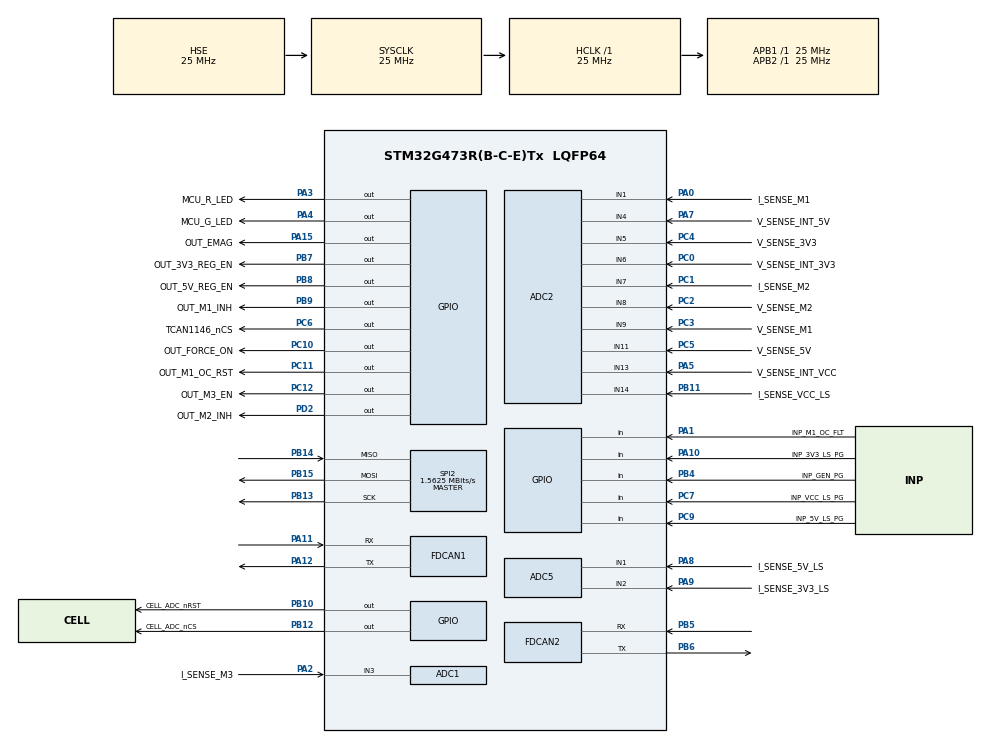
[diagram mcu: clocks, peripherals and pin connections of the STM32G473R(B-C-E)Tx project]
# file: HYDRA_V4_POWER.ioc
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ADC1.Channel-0\#ChannelRegularConversion=ADC_CHANNEL_3
ADC1.Channel-1\#ChannelRegularConversion=ADC_CHANNEL_TEMPSENSOR_ADC1
ADC1.ClockPrescaler=ADC_CLOCK_ASYNC_DIV1
ADC1.ContinuousConvMode=DISABLE
ADC1.DMAContinuousRequests=DISABLE
ADC1.DataAlign=ADC_DATAALIGN_RIGHT
ADC1.DiscontinuousConvMode=DISABLE
ADC1.EOCSelection=ADC_EOC_SEQ_CONV
ADC1.ExternalTrigConv=ADC_EXTERNALTRIG_T3_TRGO
ADC1.Mode=ADC_MODE_INDEPENDENT
ADC1.NbrOfConversion=2
ADC1.NbrOfConversionFlag=1
ADC1.OffsetNumber-0\#ChannelRegularConversion=ADC_OFFSET_NONE
ADC1.OffsetNumber-1\#ChannelRegularConversion=ADC_OFFSET_NONE
ADC1.Overrun=ADC_OVR_DATA_PRESERVED
ADC1.Rank-0\#ChannelRegularConversion=1
ADC1.Rank-1\#ChannelRegularConversion=2
ADC1.SamplingTime-0\#ChannelRegularConversion=ADC_SAMPLETIME_2CYCLES_5
ADC1.SamplingTime-1\#ChannelRegularConversion=ADC_SAMPLETIME_2CYCLES_5
ADC1.master=1
ADC2.Channel-0\#ChannelRegularConversion=ADC_CHANNEL_1
ADC2.Channel-1\#ChannelRegularConversion=ADC_CHANNEL_4
ADC2.Channel-2\#ChannelRegularConversion=ADC_CHANNEL_5
ADC2.Channel-3\#ChannelRegularConversion=ADC_CHANNEL_6
ADC2.Channel-4\#ChannelRegularConversion=ADC_CHANNEL_7
ADC2.Channel-5\#ChannelRegularConversion=ADC_CHANNEL_8
ADC2.Channel-6\#ChannelRegularConversion=ADC_CHANNEL_9
ADC2.Channel-7\#ChannelRegularConversion=ADC_CHANNEL_11
ADC2.Channel-8\#ChannelRegularConversion=ADC_CHANNEL_13
ADC2.Channel-9\#ChannelRegularConversion=ADC_CHANNEL_14
ADC2.ClockPrescaler=ADC_CLOCK_ASYNC_DIV1
ADC2.ContinuousConvMode=DISABLE
ADC2.DMAContinuousRequests=DISABLE
ADC2.EOCSelection=ADC_EOC_SEQ_CONV
ADC2.ExternalTrigConv=ADC_EXTERNALTRIG_T3_TRGO
ADC2.NbrOfConversion=10
ADC2.NbrOfConversionFlag=1
ADC2.OffsetNumber-0\#ChannelRegularConversion=ADC_OFFSET_NONE
ADC2.OffsetNumber-1\#ChannelRegularConversion=ADC_OFFSET_NONE
ADC2.OffsetNumber-2\#ChannelRegularConversion=ADC_OFFSET_NONE
ADC2.OffsetNumber-3\#ChannelRegularConversion=ADC_OFFSET_NONE
ADC2.OffsetNumber-4\#ChannelRegularConversion=ADC_OFFSET_NONE
ADC2.OffsetNumber-5\#ChannelRegularConversion=ADC_OFFSET_NONE
ADC2.OffsetNumber-6\#ChannelRegularConversion=ADC_OFFSET_NONE
ADC2.OffsetNumber-7\#ChannelRegularConversion=ADC_OFFSET_NONE
ADC2.OffsetNumber-8\#ChannelRegularConversion=ADC_OFFSET_NONE
ADC2.OffsetNumber-9\#ChannelRegularConversion=ADC_OFFSET_NONE
ADC2.Overrun=ADC_OVR_DATA_PRESERVED
ADC2.Rank-0\#ChannelRegularConversion=1
ADC2.Rank-1\#ChannelRegularConversion=2
ADC2.Rank-2\#ChannelRegularConversion=3
ADC2.Rank-3\#ChannelRegularConversion=4
ADC2.Rank-4\#ChannelRegularConversion=5
ADC2.Rank-5\#ChannelRegularConversion=6
ADC2.Rank-6\#ChannelRegularConversion=7
ADC2.Rank-7\#ChannelRegularConversion=8
ADC2.Rank-8\#ChannelRegularConversion=9
ADC2.Rank-9\#ChannelRegularConversion=10
ADC2.SamplingTime-0\#ChannelRegularConversion=ADC_SAMPLETIME_2CYCLES_5
ADC2.SamplingTime-1\#ChannelRegularConversion=ADC_SAMPLETIME_2CYCLES_5
ADC2.SamplingTime-2\#ChannelRegularConversion=ADC_SAMPLETIME_2CYCLES_5
ADC2.SamplingTime-3\#ChannelRegularConversion=ADC_SAMPLETIME_2CYCLES_5
ADC2.SamplingTime-4\#ChannelRegularConversion=ADC_SAMPLETIME_2CYCLES_5
ADC2.SamplingTime-5\#ChannelRegularConversion=ADC_SAMPLETIME_2CYCLES_5
ADC2.SamplingTime-6\#ChannelRegularConversion=ADC_SAMPLETIME_2CYCLES_5
ADC2.SamplingTime-7\#ChannelRegularConversion=ADC_SAMPLETIME_2CYCLES_5
ADC2.SamplingTime-8\#ChannelRegularConversion=ADC_SAMPLETIME_2CYCLES_5
ADC2.SamplingTime-9\#ChannelRegularConversion=ADC_SAMPLETIME_2CYCLES_5
ADC5.Channel-0\#ChannelRegularConversion=ADC_CHANNEL_1
ADC5.Channel-1\#ChannelRegularConversion=ADC_CHANNEL_2
ADC5.ClockPrescaler=ADC_CLOCK_ASYNC_DIV1
ADC5.ContinuousConvMode=DISABLE
ADC5.DMAContinuousRequests=DISABLE
ADC5.EOCSelection=ADC_EOC_SEQ_CONV
ADC5.ExternalTrigConv=ADC_EXTERNALTRIG_T3_TRGO
ADC5.NbrOfConversion=2
ADC5.NbrOfConversionFlag=1
ADC5.OffsetNumber-0\#ChannelRegularConversion=ADC_OFFSET_NONE
ADC5.OffsetNumber-1\#ChannelRegularConversion=ADC_OFFSET_NONE
ADC5.Overrun=ADC_OVR_DATA_PRESERVED
ADC5.Rank-0\#ChannelRegularConversion=1
ADC5.Rank-1\#ChannelRegularConversion=2
ADC5.SamplingTime-0\#ChannelRegularConversion=ADC_SAMPLETIME_2CYCLES_5
ADC5.SamplingTime-1\#ChannelRegularConversion=ADC_SAMPLETIME_2CYCLES_5
Dma.ADC1.2.Direction=DMA_PERIPH_TO_MEMORY
Dma.ADC1.2.EventEnable=DISABLE
Dma.ADC1.2.Instance=DMA1_Channel1
Dma.ADC1.2.MemDataAlignment=DMA_MDATAALIGN_HALFWORD
Dma.ADC1.2.MemInc=DMA_MINC_ENABLE
Dma.ADC1.2.Mode=DMA_NORMAL
Dma.ADC1.2.PeriphDataAlignment=DMA_PDATAALIGN_HALFWORD
Dma.ADC1.2.PeriphInc=DMA_PINC_DISABLE
Dma.ADC1.2.Polarity=HAL_DMAMUX_REQ_GEN_RISING
Dma.ADC1.2.Priority=DMA_PRIORITY_LOW
Dma.ADC1.2.RequestNumber=1
Dma.ADC1.2.SignalID=NONE
Dma.ADC1.2.SyncEnable=DISABLE
Dma.ADC1.2.SyncPolarity=HAL_DMAMUX_SYNC_NO_EVENT
Dma.ADC1.2.SyncRequestNumber=1
Dma.ADC1.2.SyncSignalID=NONE
Dma.ADC2.0.Direction=DMA_PERIPH_TO_MEMORY
Dma.ADC2.0.EventEnable=DISABLE
Dma.ADC2.0.Instance=DMA1_Channel2
Dma.ADC2.0.MemDataAlignment=DMA_MDATAALIGN_HALFWORD
Dma.ADC2.0.MemInc=DMA_MINC_ENABLE
Dma.ADC2.0.Mode=DMA_NORMAL
Dma.ADC2.0.PeriphDataAlignment=DMA_PDATAALIGN_HALFWORD
Dma.ADC2.0.PeriphInc=DMA_PINC_DISABLE
Dma.ADC2.0.Polarity=HAL_DMAMUX_REQ_GEN_RISING
Dma.ADC2.0.Priority=DMA_PRIORITY_LOW
Dma.ADC2.0.RequestNumber=1
Dma.ADC2.0.SignalID=NONE
Dma.ADC2.0.SyncEnable=DISABLE
Dma.ADC2.0.SyncPolarity=HAL_DMAMUX_SYNC_NO_EVENT
Dma.ADC2.0.SyncRequestNumber=1
Dma.ADC2.0.SyncSignalID=NONE
Dma.ADC5.1.Direction=DMA_PERIPH_TO_MEMORY
Dma.ADC5.1.EventEnable=DISABLE
Dma.ADC5.1.Instance=DMA1_Channel3
Dma.ADC5.1.MemDataAlignment=DMA_MDATAALIGN_HALFWORD
Dma.ADC5.1.MemInc=DMA_MINC_ENABLE
Dma.ADC5.1.Mode=DMA_NORMAL
Dma.ADC5.1.PeriphDataAlignment=DMA_PDATAALIGN_HALFWORD
Dma.ADC5.1.PeriphInc=DMA_PINC_DISABLE
Dma.ADC5.1.Polarity=HAL_DMAMUX_REQ_GEN_RISING
Dma.ADC5.1.Priority=DMA_PRIORITY_LOW
Dma.ADC5.1.RequestNumber=1
Dma.ADC5.1.SignalID=NONE
Dma.ADC5.1.SyncEnable=DISABLE
Dma.ADC5.1.SyncPolarity=HAL_DMAMUX_SYNC_NO_EVENT
Dma.ADC5.1.SyncRequestNumber=1
Dma.ADC5.1.SyncSignalID=NONE
Dma.Request0=ADC2
Dma.Request1=ADC5
Dma.Request2=ADC1
FDCAN1.CalculateBaudRateNominal=520833
FDCAN1.CalculateTimeBitNominal=1920
FDCAN1.CalculateTimeQuantumNominal=640.0
FDCAN2.CalculateBaudRateNominal=520833
FDCAN2.CalculateTimeBitNominal=1920
FDCAN2.CalculateTimeQuantumNominal=640.0
FREERTOS.Tasks01=defaultTask,8,128,StartDefaultTask,Default,NULL,Dynamic,NULL,NULL
FREERTOS.configUSE_NEWLIB_REENTRANT=1
IWDG.Prescaler=IWDG_PRESCALER_256
Mcu.Family=STM32G4
Mcu.Name=STM32G473R(B-C-E)Tx
Mcu.Package=LQFP64
NVIC.ADC1_2_IRQn=true\:5\:0\:false\:false\:true\:true\:true\:true\:true
NVIC.ADC5_IRQn=true\:5\:0\:false\:false\:true\:true\:true\:true\:true
NVIC.DMA1_Channel1_IRQn=true\:5\:0\:false\:false\:true\:true\:false\:true\:true
NVIC.DMA1_Channel2_IRQn=true\:5\:0\:false\:false\:true\:false\:false\:true\:true
NVIC.DMA1_Channel3_IRQn=true\:5\:0\:false\:false\:true\:false\:false\:true\:true
NVIC.PriorityGroup=NVIC_PRIORITYGROUP_4
NVIC.TIM1_UP_TIM16_IRQn=true\:15\:0\:false\:false\:true\:false\:false\:true\:true
NVIC.TIM3_IRQn=true\:5\:0\:false\:false\:true\:true\:true\:true\:true
NVIC.TimeBase=TIM1_UP_TIM16_IRQn
NVIC.TimeBaseIP=TIM1
PA0.GPIO_Label=I_SENSE_M1
PA0.Mode=IN1-Single-Ended
PA0.Signal=ADC2_IN1
PA1.GPIO_Label=INP_M1_OC_FLT
PA1.Signal=GPIO_Input
PA10.GPIO_Label=INP_3V3_LS_PG
PA10.Signal=GPIO_Input
PA11.Mode=FDCAN_Activate
PA11.Signal=FDCAN1_RX
PA12.Mode=FDCAN_Activate
PA12.Signal=FDCAN1_TX
PA13.Mode=Trace_Asynchronous_SW
PA13.Signal=SYS_JTMS-SWDIO
PA14.Mode=Trace_Asynchronous_SW
PA14.Signal=SYS_JTCK-SWCLK
PA15.GPIO_Label=OUT_EMAG
PA15.Signal=GPIO_Output
PA2.GPIO_Label=I_SENSE_M3
PA2.Mode=IN3-Single-Ended
PA2.Signal=ADC1_IN3
PA3.GPIO_Label=MCU_R_LED
PA3.GPIO_ModeDefaultOutputPP=GPIO_MODE_OUTPUT_OD
PA3.GPIO_PuPd=GPIO_NOPULL
PA3.Signal=GPIO_Output
PA4.GPIO_Label=MCU_G_LED
PA4.GPIO_ModeDefaultOutputPP=GPIO_MODE_OUTPUT_OD
PA4.GPIO_PuPd=GPIO_NOPULL
PA4.Signal=GPIO_Output
PA5.GPIO_Label=V_SENSE_INT_VCC
PA5.Mode=IN13-Single-Ended
PA5.Signal=ADC2_IN13
PA7.GPIO_Label=V_SENSE_INT_5V
PA7.Mode=IN4-Single-Ended
PA7.Signal=ADC2_IN4
PA8.GPIO_Label=I_SENSE_5V_LS
PA8.Mode=IN1-Single-Ended
PA8.Signal=ADC5_IN1
PA9.GPIO_Label=I_SENSE_3V3_LS
PA9.Mode=IN2-Single-Ended
PA9.Signal=ADC5_IN2
PB10.GPIO_Label=CELL_ADC_nRST
PB10.Signal=GPIO_Output
PB11.GPIO_Label=I_SENSE_VCC_LS
PB11.Mode=IN14-Single-Ended
PB11.Signal=ADC2_IN14
PB12.GPIO_Label=CELL_ADC_nCS
PB12.Signal=GPIO_Output
PB13.Mode=Full_Duplex_Master
PB13.Signal=SPI2_SCK
PB14.Mode=Full_Duplex_Master
PB14.Signal=SPI2_MISO
PB15.Mode=Full_Duplex_Master
PB15.Signal=SPI2_MOSI
PB3.Mode=Trace_Asynchronous_SW
PB3.Signal=SYS_JTDO-SWO
PB4.GPIO_Label=INP_GEN_PG
PB4.Signal=GPIO_Input
PB5.Mode=FDCAN_Activate
PB5.Signal=FDCAN2_RX
PB6.Mode=FDCAN_Activate
PB6.Signal=FDCAN2_TX
PB7.GPIO_Label=OUT_3V3_REG_EN
PB7.Signal=GPIO_Output
PB8-BOOT0.GPIO_Label=OUT_5V_REG_EN
PB8-BOOT0.Signal=GPIO_Output
PB9.GPIO_Label=OUT_M1_INH
PB9.Signal=GPIO_Output
PC0.GPIO_Label=V_SENSE_INT_3V3
PC0.Mode=IN6-Single-Ended
PC0.Signal=ADC2_IN6
PC1.GPIO_Label=I_SENSE_M2
PC1.Mode=IN7-Single-Ended
PC1.Signal=ADC2_IN7
PC10.GPIO_Label=OUT_FORCE_ON
PC10.Signal=GPIO_Output
PC11.GPIO_Label=OUT_M1_OC_RST
PC11.Signal=GPIO_Output
PC12.GPIO_Label=OUT_M3_EN
PC12.Signal=GPIO_Output
PC14-OSC32_IN.Mode=LSE-External-Oscillator
PC14-OSC32_IN.Signal=RCC_OSC32_IN
PC15-OSC32_OUT.Mode=LSE-External-Oscillator
PC15-OSC32_OUT.Signal=RCC_OSC32_OUT
PC2.GPIO_Label=V_SENSE_M2
PC2.Mode=IN8-Single-Ended
PC2.Signal=ADC2_IN8
PC3.GPIO_Label=V_SENSE_M1
PC3.Mode=IN9-Single-Ended
PC3.Signal=ADC2_IN9
PC4.GPIO_Label=V_SENSE_3V3
PC4.Mode=IN5-Single-Ended
PC4.Signal=ADC2_IN5
PC5.GPIO_Label=V_SENSE_5V
PC5.Mode=IN11-Single-Ended
PC5.Signal=ADC2_IN11
PC6.GPIO_Label=TCAN1146_nCS
PC6.Signal=GPIO_Output
PC7.GPIO_Label=INP_VCC_LS_PG
PC7.Signal=GPIO_Input
PC9.GPIO_Label=INP_5V_LS_PG
PC9.Signal=GPIO_Input
PD2.GPIO_Label=OUT_M2_INH
PD2.Signal=GPIO_Output
PF0-OSC_IN.Mode=HSE-External-Oscillator
PF0-OSC_IN.Signal=RCC_OSC_IN
PF1-OSC_OUT.Mode=HSE-External-Oscillator
PF1-OSC_OUT.Signal=RCC_OSC_OUT
ProjectManager.HeapSize=0x200
ProjectManager.StackSize=0x8000
ProjectManager.TargetToolchain=STM32CubeIDE
RCC.ADC12Freq_Value=25000000
RCC.ADC345Freq_Value=25000000
RCC.AHBFreq_Value=25000000
RCC.APB1Freq_Value=25000000
RCC.APB1TimFreq_Value=25000000
RCC.APB2Freq_Value=25000000
RCC.APB2TimFreq_Value=25000000
RCC.CortexFreq_Value=25000000
RCC.EXTERNAL_CLOCK_VALUE=12288000
RCC.HCLKFreq_Value=25000000
RCC.HSE_VALUE=25000000
RCC.HSI48_VALUE=48000000
RCC.HSI_VALUE=16000000
RCC.PLLSourceVirtual=RCC_PLLSOURCE_HSE
RCC.SYSCLKFreq_VALUE=25000000
RCC.SYSCLKSource=RCC_SYSCLKSOURCE_HSE
RCC.USBFreq_Value=100000000
RCC.VCOOutputFreq_Value=200000000
SPI2.BaudRatePrescaler=SPI_BAUDRATEPRESCALER_16
SPI2.CalculateBaudRate=1.5625 MBits/s
SPI2.DataSize=SPI_DATASIZE_8BIT
SPI2.Direction=SPI_DIRECTION_2LINES
SPI2.FirstBit=SPI_FIRSTBIT_MSB
SPI2.Mode=SPI_MODE_MASTER
SPI2.NSSPMode=SPI_NSS_PULSE_DISABLE
SPI2.VirtualType=VM_MASTER
TIM3.AutoReloadPreload=TIM_AUTORELOAD_PRELOAD_ENABLE
TIM3.PeriodNoDither=49999
TIM3.Prescaler=49
TIM3.TIM_MasterOutputTrigger=TIM_TRGO_UPDATE
VP_ADC1_TempSens_Input.Mode=IN-TempSens
VP_FREERTOS_VS_CMSIS_V2.Mode=CMSIS_V2
VP_IWDG_VS_IWDG.Mode=IWDG_Activate
VP_SYS_VS_DBSignals.Mode=DisableDeadBatterySignals
VP_SYS_VS_tim1.Mode=TIM1
VP_TIM3_VS_ClockSourceINT.Mode=Internal
board=custom

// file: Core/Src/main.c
/* USER CODE BEGIN Header */
/**
  ******************************************************************************
  * @file           : main.c
  * @brief          : Main program body
  ******************************************************************************
  * @attention
  *
  * Copyright (c) 2025 STMicroelectronics.
  * All rights reserved.
  *
  * This software is licensed under terms that can be found in the LICENSE file
  * in the root directory of this software component.
  * If no LICENSE file comes with this software, it is provided AS-IS.
  *
  ******************************************************************************
  */

/*
 * Board: HYDRA_V4_POWER
 *
 * Tasks:
 * 1. Poll all ADC channels and populate local board_state struct
 * 2. Broadcast regular heartbeat signals as per hydra standard messages
 * 3. Broadcast board-specific telemetry (use local dynamic flags to enable/disable specific message types based on what link board wants)
 */

/* USER CODE END Header */
#include "main.h"
#include "cmsis_os.h"

/* USER CODE BEGIN Includes */
#include <stdio.h>
#include "power_command_manager.h"
#include "power_state_manager.h"
#include "power_telemetry_manager.h"

#include "../Common/Inc/hydra_comm.h"
/* USER CODE END Includes */

ADC_HandleTypeDef hadc1;
ADC_HandleTypeDef hadc2;
ADC_HandleTypeDef hadc5;
DMA_HandleTypeDef hdma_adc1;
DMA_HandleTypeDef hdma_adc2;
DMA_HandleTypeDef hdma_adc5;

FDCAN_HandleTypeDef hfdcan1;
FDCAN_HandleTypeDef hfdcan2;

IWDG_HandleTypeDef hiwdg;

SPI_HandleTypeDef hspi2;

TIM_HandleTypeDef htim3;

/* Definitions for defaultTask */
osThreadId_t defaultTaskHandle;
const osThreadAttr_t defaultTask_attributes = {
  .name = "defaultTask",
  .priority = (osPriority_t) osPriorityLow,
  .stack_size = 128 * 4
};
/* USER CODE BEGIN PV */
volatile uint16_t adc1_buf[2] __attribute__((aligned(4))) = {0};
volatile uint16_t adc2_buf[10] __attribute__((aligned(4))) = {0};
volatile uint16_t adc5_buf[2] __attribute__((aligned(4))) = {0};
/* USER CODE END PV */

void SystemClock_Config(void);
static void MX_GPIO_Init(void);
static void MX_DMA_Init(void);
static void MX_ADC1_Init(void);
static void MX_ADC2_Init(void);
static void MX_ADC5_Init(void);
static void MX_FDCAN1_Init(void);
static void MX_FDCAN2_Init(void);
static void MX_SPI2_Init(void);
static void MX_IWDG_Init(void);
static void MX_TIM3_Init(void);
void StartDefaultTask(void *argument);

/* USER CODE BEGIN PFP */
void HAL_ADC_ConvCpltCallback(ADC_HandleTypeDef *hadc);
/* USER CODE END PFP */

int main(void)
{

  /* MCU Configuration--------------------------------------------------------*/

  /* Reset of all peripherals, Initializes the Flash interface and the Systick. */
  HAL_Init();

  /* Configure the system clock */
  SystemClock_Config();

  /* Initialize all configured peripherals */
  MX_GPIO_Init();
  MX_DMA_Init();
  MX_ADC1_Init();
  MX_ADC2_Init();
  MX_ADC5_Init();
  MX_FDCAN1_Init();
  MX_FDCAN2_Init();
  MX_SPI2_Init();
  MX_IWDG_Init();
  MX_TIM3_Init();
  /* USER CODE BEGIN 2 */

  printf("init begin\n");

  hydra_comm_init(&hspi2, TCAN1146_nCS_GPIO_Port, TCAN1146_nCS_Pin);

  HAL_ADCEx_Calibration_Start(&hadc1, ADC_SINGLE_ENDED);
  HAL_ADCEx_Calibration_Start(&hadc2, ADC_SINGLE_ENDED);
  HAL_ADCEx_Calibration_Start(&hadc5, ADC_SINGLE_ENDED);

  __HAL_LINKDMA(&hadc1, DMA_Handle, hdma_adc1);
  __HAL_LINKDMA(&hadc2, DMA_Handle, hdma_adc2);
  __HAL_LINKDMA(&hadc5, DMA_Handle, hdma_adc5);

  HAL_ADC_Start_DMA(&hadc1, (uint32_t*)adc1_buf, sizeof(adc1_buf));
  HAL_ADC_Start_DMA(&hadc2, (uint32_t*)adc2_buf, sizeof(adc2_buf));
  HAL_ADC_Start_DMA(&hadc5, (uint32_t*)adc5_buf, sizeof(adc5_buf));

  HAL_TIM_Base_Start_IT(&htim3);
  HAL_ADC_Start_IT(&hadc1);
  HAL_ADC_Start_IT(&hadc2);
  HAL_ADC_Start_IT(&hadc5);

  printf("init done\n");

  /* USER CODE END 2 */

  /* Init scheduler */
  osKernelInitialize();

  /* Create the thread(s) */
  /* creation of defaultTask */
  defaultTaskHandle = osThreadNew(StartDefaultTask, NULL, &defaultTask_attributes);

  /* USER CODE BEGIN RTOS_THREADS */
  /* add threads, ... */
  power_state_manager_init();

  //TEMP fuckery to test regulators nov 2 2025, TODO: remove
  HAL_GPIO_WritePin(OUT_M3_EN_GPIO_Port, OUT_M3_EN_Pin, GPIO_PIN_SET);
  HAL_GPIO_WritePin(OUT_5V_REG_EN_GPIO_Port, OUT_5V_REG_EN_Pin, GPIO_PIN_SET);
  HAL_GPIO_WritePin(OUT_3V3_REG_EN_GPIO_Port, OUT_3V3_REG_EN_Pin, GPIO_PIN_SET);
  /* USER CODE END RTOS_THREADS */

  /* Start scheduler */
  osKernelStart();

  /* We should never get here as control is now taken by the scheduler */

  /* Infinite loop */
  while (1)
  {

  }
}

void SystemClock_Config(void)
{
  RCC_OscInitTypeDef RCC_OscInitStruct = {0};
  RCC_ClkInitTypeDef RCC_ClkInitStruct = {0};

  /** Configure the main internal regulator output voltage
  */
  HAL_PWREx_ControlVoltageScaling(PWR_REGULATOR_VOLTAGE_SCALE1);

  /** Initializes the RCC Oscillators according to the specified parameters
  * in the RCC_OscInitTypeDef structure.
  */
  RCC_OscInitStruct.OscillatorType = RCC_OSCILLATORTYPE_LSI|RCC_OSCILLATORTYPE_HSE;
  RCC_OscInitStruct.HSEState = RCC_HSE_ON;
  RCC_OscInitStruct.LSIState = RCC_LSI_ON;
  RCC_OscInitStruct.PLL.PLLState = RCC_PLL_NONE;
  if (HAL_RCC_OscConfig(&RCC_OscInitStruct) != HAL_OK)
  {
    Error_Handler();
  }

  /** Initializes the CPU, AHB and APB buses clocks
  */
  RCC_ClkInitStruct.ClockType = RCC_CLOCKTYPE_HCLK|RCC_CLOCKTYPE_SYSCLK
                              |RCC_CLOCKTYPE_PCLK1|RCC_CLOCKTYPE_PCLK2;
  RCC_ClkInitStruct.SYSCLKSource = RCC_SYSCLKSOURCE_HSE;
  RCC_ClkInitStruct.AHBCLKDivider = RCC_SYSCLK_DIV1;
  RCC_ClkInitStruct.APB1CLKDivider = RCC_HCLK_DIV1;
  RCC_ClkInitStruct.APB2CLKDivider = RCC_HCLK_DIV1;

  if (HAL_RCC_ClockConfig(&RCC_ClkInitStruct, FLASH_LATENCY_0) != HAL_OK)
  {
    Error_Handler();
  }
}

static void MX_ADC1_Init(void)
{

  ADC_MultiModeTypeDef multimode = {0};
  ADC_ChannelConfTypeDef sConfig = {0};

  /** Common config
  */
  hadc1.Instance = ADC1;
  hadc1.Init.ClockPrescaler = ADC_CLOCK_ASYNC_DIV1;
  hadc1.Init.Resolution = ADC_RESOLUTION_12B;
  hadc1.Init.DataAlign = ADC_DATAALIGN_RIGHT;
  hadc1.Init.GainCompensation = 0;
  hadc1.Init.ScanConvMode = ADC_SCAN_ENABLE;
  hadc1.Init.EOCSelection = ADC_EOC_SEQ_CONV;
  hadc1.Init.LowPowerAutoWait = DISABLE;
  hadc1.Init.ContinuousConvMode = DISABLE;
  hadc1.Init.NbrOfConversion = 2;
  hadc1.Init.DiscontinuousConvMode = DISABLE;
  hadc1.Init.ExternalTrigConv = ADC_EXTERNALTRIG_T3_TRGO;
  hadc1.Init.ExternalTrigConvEdge = ADC_EXTERNALTRIGCONVEDGE_RISING;
  hadc1.Init.DMAContinuousRequests = DISABLE;
  hadc1.Init.Overrun = ADC_OVR_DATA_PRESERVED;
  hadc1.Init.OversamplingMode = DISABLE;
  if (HAL_ADC_Init(&hadc1) != HAL_OK)
  {
    Error_Handler();
  }

  /** Configure the ADC multi-mode
  */
  multimode.Mode = ADC_MODE_INDEPENDENT;
  if (HAL_ADCEx_MultiModeConfigChannel(&hadc1, &multimode) != HAL_OK)
  {
    Error_Handler();
  }

  /** Configure Regular Channel
  */
  sConfig.Channel = ADC_CHANNEL_3;
  sConfig.Rank = ADC_REGULAR_RANK_1;
  sConfig.SamplingTime = ADC_SAMPLETIME_2CYCLES_5;
  sConfig.SingleDiff = ADC_SINGLE_ENDED;
  sConfig.OffsetNumber = ADC_OFFSET_NONE;
  sConfig.Offset = 0;
  if (HAL_ADC_ConfigChannel(&hadc1, &sConfig) != HAL_OK)
  {
    Error_Handler();
  }

  /** Configure Regular Channel
  */
  sConfig.Channel = ADC_CHANNEL_TEMPSENSOR_ADC1;
  sConfig.Rank = ADC_REGULAR_RANK_2;
  if (HAL_ADC_ConfigChannel(&hadc1, &sConfig) != HAL_OK)
  {
    Error_Handler();
  }

}

static void MX_ADC2_Init(void)
{

  ADC_ChannelConfTypeDef sConfig = {0};

  /** Common config
  */
  hadc2.Instance = ADC2;
  hadc2.Init.ClockPrescaler = ADC_CLOCK_ASYNC_DIV1;
  hadc2.Init.Resolution = ADC_RESOLUTION_12B;
  hadc2.Init.DataAlign = ADC_DATAALIGN_RIGHT;
  hadc2.Init.GainCompensation = 0;
  hadc2.Init.ScanConvMode = ADC_SCAN_ENABLE;
  hadc2.Init.EOCSelection = ADC_EOC_SEQ_CONV;
  hadc2.Init.LowPowerAutoWait = DISABLE;
  hadc2.Init.ContinuousConvMode = DISABLE;
  hadc2.Init.NbrOfConversion = 10;
  hadc2.Init.DiscontinuousConvMode = DISABLE;
  hadc2.Init.ExternalTrigConv = ADC_EXTERNALTRIG_T3_TRGO;
  hadc2.Init.ExternalTrigConvEdge = ADC_EXTERNALTRIGCONVEDGE_RISING;
  hadc2.Init.DMAContinuousRequests = DISABLE;
  hadc2.Init.Overrun = ADC_OVR_DATA_PRESERVED;
  hadc2.Init.OversamplingMode = DISABLE;
  if (HAL_ADC_Init(&hadc2) != HAL_OK)
  {
    Error_Handler();
  }

  /** Configure Regular Channel
  */
  sConfig.Channel = ADC_CHANNEL_1;
  sConfig.Rank = ADC_REGULAR_RANK_1;
  sConfig.SamplingTime = ADC_SAMPLETIME_2CYCLES_5;
  sConfig.SingleDiff = ADC_SINGLE_ENDED;
  sConfig.OffsetNumber = ADC_OFFSET_NONE;
  sConfig.Offset = 0;
  if (HAL_ADC_ConfigChannel(&hadc2, &sConfig) != HAL_OK)
  {
    Error_Handler();
  }

  /** Configure Regular Channel
  */
  sConfig.Channel = ADC_CHANNEL_4;
  sConfig.Rank = ADC_REGULAR_RANK_2;
  if (HAL_ADC_ConfigChannel(&hadc2, &sConfig) != HAL_OK)
  {
    Error_Handler();
  }

  /** Configure Regular Channel
  */
  sConfig.Channel = ADC_CHANNEL_5;
  sConfig.Rank = ADC_REGULAR_RANK_3;
  if (HAL_ADC_ConfigChannel(&hadc2, &sConfig) != HAL_OK)
  {
    Error_Handler();
  }

  /** Configure Regular Channel
  */
  sConfig.Channel = ADC_CHANNEL_6;
  sConfig.Rank = ADC_REGULAR_RANK_4;
  if (HAL_ADC_ConfigChannel(&hadc2, &sConfig) != HAL_OK)
  {
    Error_Handler();
  }

  /** Configure Regular Channel
  */
  sConfig.Channel = ADC_CHANNEL_7;
  sConfig.Rank = ADC_REGULAR_RANK_5;
  if (HAL_ADC_ConfigChannel(&hadc2, &sConfig) != HAL_OK)
  {
    Error_Handler();
  }

  /** Configure Regular Channel
  */
  sConfig.Channel = ADC_CHANNEL_8;
  sConfig.Rank = ADC_REGULAR_RANK_6;
  if (HAL_ADC_ConfigChannel(&hadc2, &sConfig) != HAL_OK)
  {
    Error_Handler();
  }

  /** Configure Regular Channel
  */
  sConfig.Channel = ADC_CHANNEL_9;
  sConfig.Rank = ADC_REGULAR_RANK_7;
  if (HAL_ADC_ConfigChannel(&hadc2, &sConfig) != HAL_OK)
  {
    Error_Handler();
  }

  /** Configure Regular Channel
  */
  sConfig.Channel = ADC_CHANNEL_11;
  sConfig.Rank = ADC_REGULAR_RANK_8;
  if (HAL_ADC_ConfigChannel(&hadc2, &sConfig) != HAL_OK)
  {
    Error_Handler();
  }

  /** Configure Regular Channel
  */
  sConfig.Channel = ADC_CHANNEL_13;
  sConfig.Rank = ADC_REGULAR_RANK_9;
  if (HAL_ADC_ConfigChannel(&hadc2, &sConfig) != HAL_OK)
  {
    Error_Handler();
  }

  /** Configure Regular Channel
  */
  sConfig.Channel = ADC_CHANNEL_14;
  sConfig.Rank = ADC_REGULAR_RANK_10;
  if (HAL_ADC_ConfigChannel(&hadc2, &sConfig) != HAL_OK)
  {
    Error_Handler();
  }

}

static void MX_ADC5_Init(void)
{

  ADC_ChannelConfTypeDef sConfig = {0};

  /** Common config
  */
  hadc5.Instance = ADC5;
  hadc5.Init.ClockPrescaler = ADC_CLOCK_ASYNC_DIV1;
  hadc5.Init.Resolution = ADC_RESOLUTION_12B;
  hadc5.Init.DataAlign = ADC_DATAALIGN_RIGHT;
  hadc5.Init.GainCompensation = 0;
  hadc5.Init.ScanConvMode = ADC_SCAN_ENABLE;
  hadc5.Init.EOCSelection = ADC_EOC_SEQ_CONV;
  hadc5.Init.LowPowerAutoWait = DISABLE;
  hadc5.Init.ContinuousConvMode = DISABLE;
  hadc5.Init.NbrOfConversion = 2;
  hadc5.Init.DiscontinuousConvMode = DISABLE;
  hadc5.Init.ExternalTrigConv = ADC_EXTERNALTRIG_T3_TRGO;
  hadc5.Init.ExternalTrigConvEdge = ADC_EXTERNALTRIGCONVEDGE_RISING;
  hadc5.Init.DMAContinuousRequests = DISABLE;
  hadc5.Init.Overrun = ADC_OVR_DATA_PRESERVED;
  hadc5.Init.OversamplingMode = DISABLE;
  if (HAL_ADC_Init(&hadc5) != HAL_OK)
  {
    Error_Handler();
  }

  /** Configure Regular Channel
  */
  sConfig.Channel = ADC_CHANNEL_1;
  sConfig.Rank = ADC_REGULAR_RANK_1;
  sConfig.SamplingTime = ADC_SAMPLETIME_2CYCLES_5;
  sConfig.SingleDiff = ADC_SINGLE_ENDED;
  sConfig.OffsetNumber = ADC_OFFSET_NONE;
  sConfig.Offset = 0;
  if (HAL_ADC_ConfigChannel(&hadc5, &sConfig) != HAL_OK)
  {
    Error_Handler();
  }

  /** Configure Regular Channel
  */
  sConfig.Channel = ADC_CHANNEL_2;
  sConfig.Rank = ADC_REGULAR_RANK_2;
  if (HAL_ADC_ConfigChannel(&hadc5, &sConfig) != HAL_OK)
  {
    Error_Handler();
  }

}

static void MX_FDCAN1_Init(void)
{

  hfdcan1.Instance = FDCAN1;
  hfdcan1.Init.ClockDivider = FDCAN_CLOCK_DIV1;
  hfdcan1.Init.FrameFormat = FDCAN_FRAME_CLASSIC;
  hfdcan1.Init.Mode = FDCAN_MODE_NORMAL;
  hfdcan1.Init.AutoRetransmission = DISABLE;
  hfdcan1.Init.TransmitPause = DISABLE;
  hfdcan1.Init.ProtocolException = DISABLE;
  hfdcan1.Init.NominalPrescaler = 16;
  hfdcan1.Init.NominalSyncJumpWidth = 1;
  hfdcan1.Init.NominalTimeSeg1 = 1;
  hfdcan1.Init.NominalTimeSeg2 = 1;
  hfdcan1.Init.DataPrescaler = 1;
  hfdcan1.Init.DataSyncJumpWidth = 1;
  hfdcan1.Init.DataTimeSeg1 = 1;
  hfdcan1.Init.DataTimeSeg2 = 1;
  hfdcan1.Init.StdFiltersNbr = 0;
  hfdcan1.Init.ExtFiltersNbr = 0;
  hfdcan1.Init.TxFifoQueueMode = FDCAN_TX_FIFO_OPERATION;
  if (HAL_FDCAN_Init(&hfdcan1) != HAL_OK)
  {
    Error_Handler();
  }

}

static void MX_FDCAN2_Init(void)
{

  hfdcan2.Instance = FDCAN2;
  hfdcan2.Init.ClockDivider = FDCAN_CLOCK_DIV1;
  hfdcan2.Init.FrameFormat = FDCAN_FRAME_CLASSIC;
  hfdcan2.Init.Mode = FDCAN_MODE_NORMAL;
  hfdcan2.Init.AutoRetransmission = DISABLE;
  hfdcan2.Init.TransmitPause = DISABLE;
  hfdcan2.Init.ProtocolException = DISABLE;
  hfdcan2.Init.NominalPrescaler = 16;
  hfdcan2.Init.NominalSyncJumpWidth = 1;
  hfdcan2.Init.NominalTimeSeg1 = 1;
  hfdcan2.Init.NominalTimeSeg2 = 1;
  hfdcan2.Init.DataPrescaler = 1;
  hfdcan2.Init.DataSyncJumpWidth = 1;
  hfdcan2.Init.DataTimeSeg1 = 1;
  hfdcan2.Init.DataTimeSeg2 = 1;
  hfdcan2.Init.StdFiltersNbr = 0;
  hfdcan2.Init.ExtFiltersNbr = 0;
  hfdcan2.Init.TxFifoQueueMode = FDCAN_TX_FIFO_OPERATION;
  if (HAL_FDCAN_Init(&hfdcan2) != HAL_OK)
  {
    Error_Handler();
  }

}

static void MX_IWDG_Init(void)
{

  hiwdg.Instance = IWDG;
  hiwdg.Init.Prescaler = IWDG_PRESCALER_256;
  hiwdg.Init.Window = 4095;
  hiwdg.Init.Reload = 4095;
  if (HAL_IWDG_Init(&hiwdg) != HAL_OK)
  {
    Error_Handler();
  }

}

static void MX_SPI2_Init(void)
{

  /* SPI2 parameter configuration*/
  hspi2.Instance = SPI2;
  hspi2.Init.Mode = SPI_MODE_MASTER;
  hspi2.Init.Direction = SPI_DIRECTION_2LINES;
  hspi2.Init.DataSize = SPI_DATASIZE_8BIT;
  hspi2.Init.CLKPolarity = SPI_POLARITY_LOW;
  hspi2.Init.CLKPhase = SPI_PHASE_1EDGE;
  hspi2.Init.NSS = SPI_NSS_SOFT;
  hspi2.Init.BaudRatePrescaler = SPI_BAUDRATEPRESCALER_16;
  hspi2.Init.FirstBit = SPI_FIRSTBIT_MSB;
  hspi2.Init.TIMode = SPI_TIMODE_DISABLE;
  hspi2.Init.CRCCalculation = SPI_CRCCALCULATION_DISABLE;
  hspi2.Init.CRCPolynomial = 7;
  hspi2.Init.CRCLength = SPI_CRC_LENGTH_DATASIZE;
  hspi2.Init.NSSPMode = SPI_NSS_PULSE_DISABLE;
  if (HAL_SPI_Init(&hspi2) != HAL_OK)
  {
    Error_Handler();
  }

}

static void MX_TIM3_Init(void)
{

  TIM_ClockConfigTypeDef sClockSourceConfig = {0};
  TIM_MasterConfigTypeDef sMasterConfig = {0};

  htim3.Instance = TIM3;
  htim3.Init.Prescaler = 49;
  htim3.Init.CounterMode = TIM_COUNTERMODE_UP;
  htim3.Init.Period = 49999;
  htim3.Init.ClockDivision = TIM_CLOCKDIVISION_DIV1;
  htim3.Init.AutoReloadPreload = TIM_AUTORELOAD_PRELOAD_ENABLE;
  if (HAL_TIM_Base_Init(&htim3) != HAL_OK)
  {
    Error_Handler();
  }
  sClockSourceConfig.ClockSource = TIM_CLOCKSOURCE_INTERNAL;
  if (HAL_TIM_ConfigClockSource(&htim3, &sClockSourceConfig) != HAL_OK)
  {
    Error_Handler();
  }
  sMasterConfig.MasterOutputTrigger = TIM_TRGO_UPDATE;
  sMasterConfig.MasterSlaveMode = TIM_MASTERSLAVEMODE_DISABLE;
  if (HAL_TIMEx_MasterConfigSynchronization(&htim3, &sMasterConfig) != HAL_OK)
  {
    Error_Handler();
  }

}

static void MX_DMA_Init(void)
{

  /* DMA controller clock enable */
  __HAL_RCC_DMAMUX1_CLK_ENABLE();
  __HAL_RCC_DMA1_CLK_ENABLE();

  /* DMA interrupt init */
  /* DMA1_Channel1_IRQn interrupt configuration */
  HAL_NVIC_SetPriority(DMA1_Channel1_IRQn, 5, 0);
  HAL_NVIC_EnableIRQ(DMA1_Channel1_IRQn);
  /* DMA1_Channel2_IRQn interrupt configuration */
  HAL_NVIC_SetPriority(DMA1_Channel2_IRQn, 5, 0);
  HAL_NVIC_EnableIRQ(DMA1_Channel2_IRQn);
  /* DMA1_Channel3_IRQn interrupt configuration */
  HAL_NVIC_SetPriority(DMA1_Channel3_IRQn, 5, 0);
  HAL_NVIC_EnableIRQ(DMA1_Channel3_IRQn);

}

static void MX_GPIO_Init(void)
{
  GPIO_InitTypeDef GPIO_InitStruct = {0};

  /* GPIO Ports Clock Enable */
  __HAL_RCC_GPIOC_CLK_ENABLE();
  __HAL_RCC_GPIOF_CLK_ENABLE();
  __HAL_RCC_GPIOA_CLK_ENABLE();
  __HAL_RCC_GPIOB_CLK_ENABLE();
  __HAL_RCC_GPIOD_CLK_ENABLE();

  /*Configure GPIO pin Output Level */
  HAL_GPIO_WritePin(GPIOA, MCU_R_LED_Pin|MCU_G_LED_Pin|OUT_EMAG_Pin, GPIO_PIN_RESET);

  /*Configure GPIO pin Output Level */
  HAL_GPIO_WritePin(GPIOB, CELL_ADC_nRST_Pin|CELL_ADC_nCS_Pin|OUT_3V3_REG_EN_Pin|OUT_5V_REG_EN_Pin
                          |OUT_M1_INH_Pin, GPIO_PIN_RESET);

  /*Configure GPIO pin Output Level */
  HAL_GPIO_WritePin(GPIOC, TCAN1146_nCS_Pin|OUT_FORCE_ON_Pin|OUT_M1_OC_RST_Pin|OUT_M3_EN_Pin, GPIO_PIN_RESET);

  /*Configure GPIO pin Output Level */
  HAL_GPIO_WritePin(OUT_M2_INH_GPIO_Port, OUT_M2_INH_Pin, GPIO_PIN_RESET);

  /*Configure GPIO pins : INP_M1_OC_FLT_Pin INP_3V3_LS_PG_Pin */
  GPIO_InitStruct.Pin = INP_M1_OC_FLT_Pin|INP_3V3_LS_PG_Pin;
  GPIO_InitStruct.Mode = GPIO_MODE_INPUT;
  GPIO_InitStruct.Pull = GPIO_NOPULL;
  HAL_GPIO_Init(GPIOA, &GPIO_InitStruct);

  /*Configure GPIO pins : MCU_R_LED_Pin MCU_G_LED_Pin */
  GPIO_InitStruct.Pin = MCU_R_LED_Pin|MCU_G_LED_Pin;
  GPIO_InitStruct.Mode = GPIO_MODE_OUTPUT_OD;
  GPIO_InitStruct.Pull = GPIO_NOPULL;
  GPIO_InitStruct.Speed = GPIO_SPEED_FREQ_LOW;
  HAL_GPIO_Init(GPIOA, &GPIO_InitStruct);

  /*Configure GPIO pins : CELL_ADC_nRST_Pin CELL_ADC_nCS_Pin OUT_3V3_REG_EN_Pin OUT_5V_REG_EN_Pin
                           OUT_M1_INH_Pin */
  GPIO_InitStruct.Pin = CELL_ADC_nRST_Pin|CELL_ADC_nCS_Pin|OUT_3V3_REG_EN_Pin|OUT_5V_REG_EN_Pin
                          |OUT_M1_INH_Pin;
  GPIO_InitStruct.Mode = GPIO_MODE_OUTPUT_PP;
  GPIO_InitStruct.Pull = GPIO_NOPULL;
  GPIO_InitStruct.Speed = GPIO_SPEED_FREQ_LOW;
  HAL_GPIO_Init(GPIOB, &GPIO_InitStruct);

  /*Configure GPIO pins : TCAN1146_nCS_Pin OUT_FORCE_ON_Pin OUT_M1_OC_RST_Pin OUT_M3_EN_Pin */
  GPIO_InitStruct.Pin = TCAN1146_nCS_Pin|OUT_FORCE_ON_Pin|OUT_M1_OC_RST_Pin|OUT_M3_EN_Pin;
  GPIO_InitStruct.Mode = GPIO_MODE_OUTPUT_PP;
  GPIO_InitStruct.Pull = GPIO_NOPULL;
  GPIO_InitStruct.Speed = GPIO_SPEED_FREQ_LOW;
  HAL_GPIO_Init(GPIOC, &GPIO_InitStruct);

  /*Configure GPIO pins : INP_VCC_LS_PG_Pin INP_5V_LS_PG_Pin */
  GPIO_InitStruct.Pin = INP_VCC_LS_PG_Pin|INP_5V_LS_PG_Pin;
  GPIO_InitStruct.Mode = GPIO_MODE_INPUT;
  GPIO_InitStruct.Pull = GPIO_NOPULL;
  HAL_GPIO_Init(GPIOC, &GPIO_InitStruct);

  /*Configure GPIO pin : OUT_EMAG_Pin */
  GPIO_InitStruct.Pin = OUT_EMAG_Pin;
  GPIO_InitStruct.Mode = GPIO_MODE_OUTPUT_PP;
  GPIO_InitStruct.Pull = GPIO_NOPULL;
  GPIO_InitStruct.Speed = GPIO_SPEED_FREQ_LOW;
  HAL_GPIO_Init(OUT_EMAG_GPIO_Port, &GPIO_InitStruct);

  /*Configure GPIO pin : OUT_M2_INH_Pin */
  GPIO_InitStruct.Pin = OUT_M2_INH_Pin;
  GPIO_InitStruct.Mode = GPIO_MODE_OUTPUT_PP;
  GPIO_InitStruct.Pull = GPIO_NOPULL;
  GPIO_InitStruct.Speed = GPIO_SPEED_FREQ_LOW;
  HAL_GPIO_Init(OUT_M2_INH_GPIO_Port, &GPIO_InitStruct);

  /*Configure GPIO pin : INP_GEN_PG_Pin */
  GPIO_InitStruct.Pin = INP_GEN_PG_Pin;
  GPIO_InitStruct.Mode = GPIO_MODE_INPUT;
  GPIO_InitStruct.Pull = GPIO_NOPULL;
  HAL_GPIO_Init(INP_GEN_PG_GPIO_Port, &GPIO_InitStruct);

}

/* USER CODE BEGIN 4 */
void HAL_ADC_ConvCpltCallback(ADC_HandleTypeDef *hadc)
{
	//printf("convcpltcallback\n");

	if (hadc->Instance == ADC1) {
		power_state_manager_store_raw_adc_values(adc1_buf, hadc);
		HAL_ADC_Start_DMA(&hadc1, (uint32_t*)adc1_buf, sizeof(adc1_buf));
	} else if (hadc->Instance == ADC2) {
		power_state_manager_store_raw_adc_values(adc2_buf, hadc);
		HAL_ADC_Start_DMA(&hadc2, (uint32_t*)adc2_buf, sizeof(adc2_buf));
	} else if (hadc->Instance == ADC5) {
		power_state_manager_store_raw_adc_values(adc5_buf, hadc);
		HAL_ADC_Start_DMA(&hadc5, (uint32_t*)adc5_buf, sizeof(adc5_buf));
	}
}

int _write(int file, char *ptr, int len)
{
    int DataIdx;

    for (DataIdx = 0; DataIdx < len; DataIdx++)
    {
        ITM_SendChar(*ptr++);
    }
    return len;
}
/* USER CODE END 4 */

void StartDefaultTask(void *argument)
{
  /* USER CODE BEGIN 5 */
  /* Infinite loop */
  for(;;)
  {
	  HAL_GPIO_TogglePin(MCU_G_LED_GPIO_Port, MCU_G_LED_Pin);
	  //TCAN1146_SetMode(TCAN_MODE_NORMAL);
	  //printf("adc1[ %hd, %hd ] \n", adc1_buf[0], adc1_buf[2]);

	  HAL_IWDG_Refresh(&hiwdg);
	  osDelay(500);
  }
  /* USER CODE END 5 */
}

void HAL_TIM_PeriodElapsedCallback(TIM_HandleTypeDef *htim)
{
  /* USER CODE BEGIN Callback 0 */
//	printf("tim3 cb\n");
  /* USER CODE END Callback 0 */
  if (htim->Instance == TIM1)
  {
    HAL_IncTick();
  }
}

void Error_Handler(void)
{
  __disable_irq();
  while (1)
  {
  }
}
